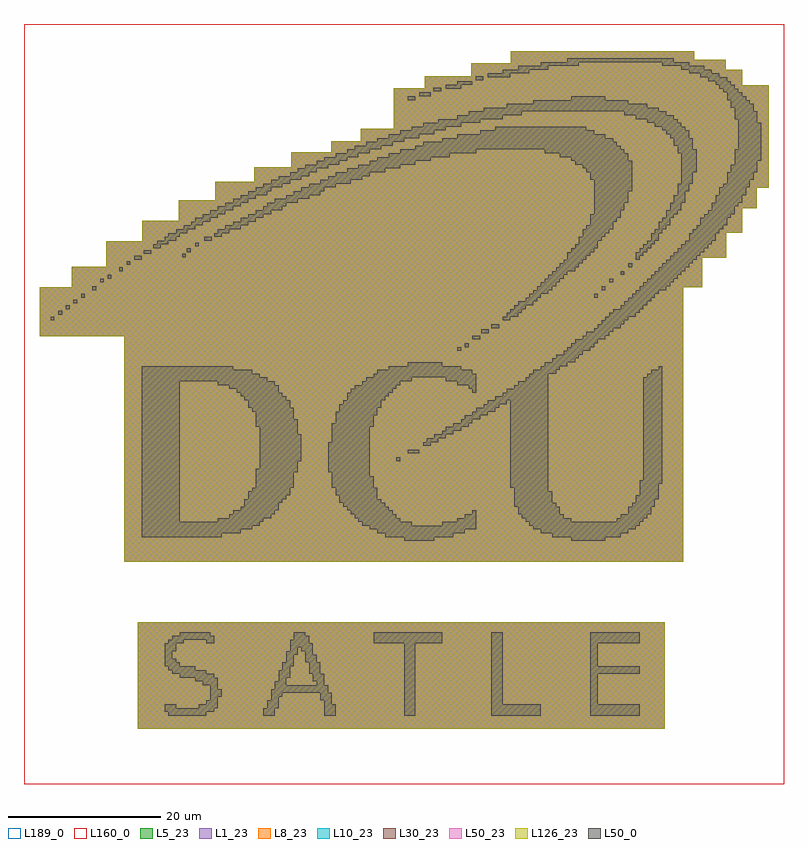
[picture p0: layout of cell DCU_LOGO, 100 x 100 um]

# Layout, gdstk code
import gdstk
lib = gdstk.Library(unit=1e-6, precision=1e-09)
def R(c, l, rs):  # rectangles x0, y0, x1, y1
    for r in rs: c.add(gdstk.rectangle(r[:2], r[2:], *l))
def P(c, l, *ps):  # polygons
    for p in ps: c.add(gdstk.Polygon(p, *l))
L1_23 = (1, 23)
L5_23 = (5, 23)
L8_23 = (8, 23)
L10_23 = (10, 23)
L30_23 = (30, 23)
L50_0 = (50, 0)
L50_23 = (50, 23)
L126_23 = (126, 23)
L160_0 = (160, 0)
L189_0 = (189, 0)

dcu_logo = lib.new_cell('DCU_LOGO')
R(dcu_logo, L1_23, [(14.985,7.26,84.295,21.31)])
P(dcu_logo, L1_23, [(13.185,29.27),(13.185,58.945),(2.1,58.945),(2.1,65.34),(6.295,65.34),(6.295,68.035),(10.79,68.035),(10.79,71.43),(15.585,71.43),(15.585,74.13),(20.38,74.13),(20.38,76.825),(25.175,76.825),(25.175,79.225),(30.27,79.225),(30.27,81.14),(35.165,81.14),(35.165,83.12),(40.41,83.12),(40.41,84.59),(44.31,84.59),(44.31,86.22),(48.655,86.22),(48.655,91.515),(52.75,91.515),(52.75,93.11),(58.845,93.11),(58.845,94.81),(64.04,94.81),(64.04,96.41),(88.215,96.41),(88.215,95.31),(92.31,95.31),(92.31,94.01),(94.51,94.01),(94.51,91.91),(98.005,91.91),(98.005,78.425),(96.41,78.425),(96.41,75.73),(94.51,75.73),(94.51,72.53),(92.41,72.53),(92.41,69.235),(89.215,69.235),(89.215,65.34),(86.715,65.34),(86.715,29.27)])
R(dcu_logo, L5_23, [(14.985,7.26,84.295,21.31)])
P(dcu_logo, L5_23, [(13.185,29.27),(13.185,58.945),(2.1,58.945),(2.1,65.34),(6.295,65.34),(6.295,68.035),(10.79,68.035),(10.79,71.43),(15.585,71.43),(15.585,74.13),(20.38,74.13),(20.38,76.825),(25.175,76.825),(25.175,79.225),(30.27,79.225),(30.27,81.14),(35.165,81.14),(35.165,83.12),(40.41,83.12),(40.41,84.59),(44.31,84.59),(44.31,86.22),(48.655,86.22),(48.655,91.515),(52.75,91.515),(52.75,93.11),(58.845,93.11),(58.845,94.81),(64.04,94.81),(64.04,96.41),(88.215,96.41),(88.215,95.31),(92.31,95.31),(92.31,94.01),(94.51,94.01),(94.51,91.91),(98.005,91.91),(98.005,78.425),(96.41,78.425),(96.41,75.73),(94.51,75.73),(94.51,72.53),(92.41,72.53),(92.41,69.235),(89.215,69.235),(89.215,65.34),(86.715,65.34),(86.715,29.27)])
R(dcu_logo, L8_23, [(14.985,7.26,84.295,21.31)])
P(dcu_logo, L8_23, [(13.185,29.27),(13.185,58.945),(2.1,58.945),(2.1,65.34),(6.295,65.34),(6.295,68.035),(10.79,68.035),(10.79,71.43),(15.585,71.43),(15.585,74.13),(20.38,74.13),(20.38,76.825),(25.175,76.825),(25.175,79.225),(30.27,79.225),(30.27,81.14),(35.165,81.14),(35.165,83.12),(40.41,83.12),(40.41,84.59),(44.31,84.59),(44.31,86.22),(48.655,86.22),(48.655,91.515),(52.75,91.515),(52.75,93.11),(58.845,93.11),(58.845,94.81),(64.04,94.81),(64.04,96.41),(88.215,96.41),(88.215,95.31),(92.31,95.31),(92.31,94.01),(94.51,94.01),(94.51,91.91),(98.005,91.91),(98.005,78.425),(96.41,78.425),(96.41,75.73),(94.51,75.73),(94.51,72.53),(92.41,72.53),(92.41,69.235),(89.215,69.235),(89.215,65.34),(86.715,65.34),(86.715,29.27)])
R(dcu_logo, L10_23, [(14.985,7.26,84.295,21.31)])
P(dcu_logo, L10_23, [(13.185,29.27),(13.185,58.945),(2.1,58.945),(2.1,65.34),(6.295,65.34),(6.295,68.035),(10.79,68.035),(10.79,71.43),(15.585,71.43),(15.585,74.13),(20.38,74.13),(20.38,76.825),(25.175,76.825),(25.175,79.225),(30.27,79.225),(30.27,81.14),(35.165,81.14),(35.165,83.12),(40.41,83.12),(40.41,84.59),(44.31,84.59),(44.31,86.22),(48.655,86.22),(48.655,91.515),(52.75,91.515),(52.75,93.11),(58.845,93.11),(58.845,94.81),(64.04,94.81),(64.04,96.41),(88.215,96.41),(88.215,95.31),(92.31,95.31),(92.31,94.01),(94.51,94.01),(94.51,91.91),(98.005,91.91),(98.005,78.425),(96.41,78.425),(96.41,75.73),(94.51,75.73),(94.51,72.53),(92.41,72.53),(92.41,69.235),(89.215,69.235),(89.215,65.34),(86.715,65.34),(86.715,29.27)])
R(dcu_logo, L30_23, [(14.985,7.26,84.295,21.31)])
P(dcu_logo, L30_23, [(13.185,29.27),(13.185,58.945),(2.1,58.945),(2.1,65.34),(6.295,65.34),(6.295,68.035),(10.79,68.035),(10.79,71.43),(15.585,71.43),(15.585,74.13),(20.38,74.13),(20.38,76.825),(25.175,76.825),(25.175,79.225),(30.27,79.225),(30.27,81.14),(35.165,81.14),(35.165,83.12),(40.41,83.12),(40.41,84.59),(44.31,84.59),(44.31,86.22),(48.655,86.22),(48.655,91.515),(52.75,91.515),(52.75,93.11),(58.845,93.11),(58.845,94.81),(64.04,94.81),(64.04,96.41),(88.215,96.41),(88.215,95.31),(92.31,95.31),(92.31,94.01),(94.51,94.01),(94.51,91.91),(98.005,91.91),(98.005,78.425),(96.41,78.425),(96.41,75.73),(94.51,75.73),(94.51,72.53),(92.41,72.53),(92.41,69.235),(89.215,69.235),(89.215,65.34),(86.715,65.34),(86.715,29.27)])
R(dcu_logo, L50_0, [(49,42.5,49.5,43), (50.5,43.5,52,44), (57,57,57.5,57.5), (58,57.5,58.5,58), (59,58.5,60,59), (60.135,59.335,61.135,59.835), (61.5,60,62.5,60.5), (3.5,61,4,61.5), (4.5,61.75,5,62.25), (5.5,62.5,6,63), (6.5,63.25,7,63.75), (7.5,64,8,64.5), (75,64,75.5,64.5), (9,65,9.5,65.5), (76,65,76.5,65.5), (10,66,10.5,66.5), (77,66,77.5,66.5), (11,66.5,11.5,67), (78.5,67,79,67.5), (12.5,67.5,13,68), (79.5,68,80,68.5), (13.5,68.295,14,68.795), (14.5,69,15.5,69.5), (20.8,69.3,21.3,69.8), (15.75,69.75,16.75,70.25), (21.435,70,21.935,70.5), (22.5,70.75,23,71.25), (23.7,71.5,24.7,72), (50.5,90,51.5,90.5), (52,90.5,53.5,91), (53.875,91.14,54.875,91.64), (59.435,92.6,60.435,93.1)])
P(dcu_logo, L50_0, [(63,61),(63,61.5),(63.5,61.5),(63.5,62),(64,62),(64,62.5),(64.5,62.5),(64.5,63),(65,63),(65,63.5),(66,63.5),(66,64),(66.5,64),(66.5,64.5),(67,64.5),(67,65),(67.5,65),(67.5,65.5),(68,65.5),(68,66),(68.5,66),(68.5,66.5),(69,66.5),(69,67),(69.5,67),(69.5,67.5),(70,67.5),(70,68),(70.5,68),(70.5,68.5),(71,68.5),(71,69),(71.5,69),(71.5,70),(72,70),(72,70.5),(72.5,70.5),(72.5,71),(73,71),(73,72),(73.5,72),(73.5,73),(74,73),(74,73.5),(74.5,73.5),(74.5,75),(75,75),(75,79.5),(74.5,79.5),(74.5,80.5),(74,80.5),(74,81),(73.5,81),(73.5,81.5),(72.5,81.5),(72.5,82),(72,82),(72,82.5),(70.5,82.5),(70.5,83),(68.5,83),(68.5,83.5),(59.5,83.5),(59.5,83),(56,83),(56,82.5),(53.5,82.5),(53.5,82),(51.5,82),(51.5,81.5),(49.5,81.5),(49.5,81),(47.5,81),(47.5,80.5),(45.5,80.5),(45.5,80),(44.5,80),(44.5,79.5),(43,79.5),(43,79),(41,79),(41,78.5),(39.5,78.5),(39.5,78),(39,78),(39,77.5),(37.5,77.5),(37.5,77),(36,77),(36,76.5),(34.5,76.5),(34.5,76),(34,76),(34,75.5),(32.5,75.5),(32.5,75),(31.5,75),(31.5,74.5),(30.5,74.5),(30.5,74),(29.5,74),(29.5,73.5),(28.5,73.5),(28.5,73),(27,73),(27,72.5),(26,72.5),(26,72),(25,72),(25,72.5),(25.5,72.5),(25.5,73),(26.5,73),(26.5,73.5),(27.5,73.5),(27.5,74),(28.5,74),(28.5,74.5),(29.5,74.5),(29.5,75),(30.5,75),(30.5,75.5),(31.5,75.5),(31.5,76),(32,76),(32,76.5),(33,76.5),(33,77),(34.5,77),(34.5,77.5),(35.5,77.5),(35.5,78),(36.5,78),(36.5,78.5),(37.5,78.5),(37.5,79),(39,79),(39,79.5),(40,79.5),(40,80),(41,80),(41,80.5),(42.5,80.5),(42.5,81),(44,81),(44,81.5),(45.5,81.5),(45.5,82),(46.5,82),(46.5,82.5),(48,82.5),(48,83),(49.5,83),(49.5,83.5),(51.5,83.5),(51.5,84),(52.5,84),(52.5,84.5),(55,84.5),(55,85),(57,85),(57,85.5),(60,85.5),(60,86),(62,86),(62,86.5),(74,86.5),(74,86),(75,86),(75,85.5),(76.5,85.5),(76.5,85),(77.5,85),(77.5,84.5),(78,84.5),(78,84),(78.5,84),(78.5,83.5),(79,83.5),(79,83),(79.5,83),(79.5,82),(80,82),(80,78),(79.5,78),(79.5,76.5),(79,76.5),(79,75.5),(78.5,75.5),(78.5,74.5),(78,74.5),(78,74),(77.5,74),(77.5,73),(77,73),(77,72.5),(76.5,72.5),(76.5,72),(76,72),(76,71.5),(75.5,71.5),(75.5,70.5),(75,70.5),(75,70),(74.5,70),(74.5,69.5),(74,69.5),(74,69),(73.5,69),(73.5,68.5),(73,68.5),(73,68),(72.5,68),(72.5,67.5),(71.5,67.5),(71.5,67),(71,67),(71,66.5),(70.5,66.5),(70.5,66),(70,66),(70,65.5),(69.5,65.5),(69.5,65),(69,65),(69,64.5),(68,64.5),(68,64),(67.5,64),(67.5,63.5),(67,63.5),(67,63),(66,63),(66,62.5),(65.5,62.5),(65.5,62),(65,62),(65,61.5),(64,61.5),(64,61)],
  [(80.5,69),(80.5,70),(81,70),(81,70.5),(81.5,70.5),(81.5,71),(82,71),(82,71.5),(82.5,71.5),(82.5,72.5),(83,72.5),(83,73),(83.5,73),(83.5,74),(84,74),(84,74.5),(84.5,74.5),(84.5,75.5),(85,75.5),(85,76.5),(85.5,76.5),(85.5,77.5),(86,77.5),(86,79),(86.5,79),(86.5,83),(86,83),(86,84),(85.5,84),(85.5,85),(85,85),(85,85.5),(84.5,85.5),(84.5,86),(84,86),(84,86.5),(83,86.5),(83,87),(82,87),(82,87.5),(80.5,87.5),(80.5,88),(79,88),(79,88.5),(65.5,88.5),(65.5,88),(63,88),(63,87.5),(60,87.5),(60,87),(57.5,87),(57.5,86.5),(55.5,86.5),(55.5,86),(54,86),(54,85.5),(52,85.5),(52,85),(50,85),(50,84.5),(48.5,84.5),(48.5,84),(47,84),(47,83.5),(45.5,83.5),(45.5,83),(44,83),(44,82.5),(42.5,82.5),(42.5,82),(41.5,82),(41.5,81.5),(40,81.5),(40,81),(38.5,81),(38.5,80.5),(37.5,80.5),(37.5,80),(36.5,80),(36.5,79.5),(35,79.5),(35,79),(34,79),(34,78.5),(32.5,78.5),(32.5,78),(32,78),(32,77.5),(30.5,77.5),(30.5,77),(29.5,77),(29.5,76.5),(28.5,76.5),(28.5,76),(27.5,76),(27.5,75.5),(26.5,75.5),(26.5,75),(25.5,75),(25.5,74.5),(24.5,74.5),(24.5,74),(23.5,74),(23.5,73.5),(22.5,73.5),(22.5,73),(21.5,73),(21.5,72.5),(20.5,72.5),(20.5,72),(20,72),(20,71.5),(19,71.5),(19,71),(18,71),(18,70.5),(17,70.5),(17,71),(17.5,71),(17.5,71.5),(18.5,71.5),(18.5,72),(19,72),(19,72.5),(20,72.5),(20,73),(21,73),(21,73.5),(22,73.5),(22,74),(22.5,74),(22.5,74.5),(23.5,74.5),(23.5,75),(24.5,75),(24.5,75.5),(25.5,75.5),(25.5,76),(26.5,76),(26.5,76.5),(27.5,76.5),(27.5,77),(28.5,77),(28.5,77.5),(29.5,77.5),(29.5,78),(30.5,78),(30.5,78.5),(31.5,78.5),(31.5,79),(32.5,79),(32.5,79.5),(33.5,79.5),(33.5,80),(35,80),(35,80.5),(36,80.5),(36,81),(37,81),(37,81.5),(38.5,81.5),(38.5,82),(39.5,82),(39.5,82.5),(41,82.5),(41,83),(42.5,83),(42.5,83.5),(43.5,83.5),(43.5,84),(45,84),(45,84.5),(46.5,84.5),(46.5,85),(48,85),(48,85.5),(49.5,85.5),(49.5,86),(51,86),(51,86.5),(52.5,86.5),(52.5,87),(54.5,87),(54.5,87.5),(57,87.5),(57,88),(58.5,88),(58.5,88.5),(60.5,88.5),(60.5,89),(63.5,89),(63.5,89.5),(67,89.5),(67,90),(72,90),(72,90.5),(76.5,90.5),(76.5,90),(79.5,90),(79.5,89.5),(82,89.5),(82,89),(83.5,89),(83.5,88.5),(84.5,88.5),(84.5,88),(85.5,88),(85.5,87.5),(86,87.5),(86,87),(86.5,87),(86.5,86.5),(87,86.5),(87,86),(87.5,86),(87.5,85),(88,85),(88,83.5),(88.5,83.5),(88.5,80.5),(88,80.5),(88,79),(87.5,79),(87.5,78),(87,78),(87,76.5),(86.5,76.5),(86.5,75.5),(86,75.5),(86,75),(85.5,75),(85.5,74.5),(85,74.5),(85,73.5),(84.5,73.5),(84.5,73),(84,73),(84,72.5),(83.5,72.5),(83.5,71.5),(83,71.5),(83,71),(82.5,71),(82.5,70.5),(82,70.5),(82,70),(81.5,70),(81.5,69.5),(81,69.5),(81,69)],
  [(55.5,91.5),(55.5,92),(57,92),(57,92.5),(59,92.5),(59,92),(57.5,92),(57.5,91.5)],
  [(72,32),(72,32.5),(69.5,32.5),(69.5,33),(68,33),(68,33.5),(67,33.5),(67,34),(66.5,34),(66.5,34.5),(66,34.5),(66,35),(65.5,35),(65.5,35.5),(65,35.5),(65,36.5),(64.5,36.5),(64.5,39),(64,39),(64,50.5),(63.5,50.5),(63.5,50),(62.5,50),(62.5,49.5),(62,49.5),(62,49),(61,49),(61,48.5),(60,48.5),(60,48),(59,48),(59,47.5),(58.5,47.5),(58.5,47),(57.5,47),(57.5,46.5),(56.5,46.5),(56.5,46),(55.5,46),(55.5,45.5),(54.5,45.5),(54.5,45),(53.5,45),(53.5,44.5),(52.5,44.5),(52.5,45),(53,45),(53,45.5),(54,45.5),(54,46),(55,46),(55,46.5),(55.5,46.5),(55.5,47),(56.5,47),(56.5,47.5),(57.5,47.5),(57.5,48),(58,48),(58,48.5),(59,48.5),(59,49),(59.5,49),(59.5,49.5),(60.5,49.5),(60.5,50),(61,50),(61,50.5),(62,50.5),(62,51),(63,51),(63,51.5),(63.5,51.5),(63.5,52),(64.5,52),(64.5,52.5),(65,52.5),(65,53),(66,53),(66,53.5),(66.5,53.5),(66.5,54),(67,54),(67,54.5),(68,54.5),(68,55),(68.5,55),(68.5,55.5),(69.5,55.5),(69.5,56),(70,56),(70,56.5),(71,56.5),(71,57),(71.5,57),(71.5,57.5),(72,57.5),(72,58),(72.5,58),(72.5,58.5),(73.5,58.5),(73.5,59),(74,59),(74,59.5),(75,59.5),(75,60),(75.5,60),(75.5,60.5),(76,60.5),(76,61),(76.5,61),(76.5,61.5),(77,61.5),(77,62),(77.5,62),(77.5,62.5),(78.5,62.5),(78.5,63),(79,63),(79,63.5),(79.5,63.5),(79.5,64),(80,64),(80,64.5),(80.5,64.5),(80.5,65),(81,65),(81,65.5),(81.5,65.5),(81.5,66),(82,66),(82,66.5),(82.5,66.5),(82.5,67),(83,67),(83,67.5),(83.5,67.5),(83.5,68),(84,68),(84,68.5),(84.5,68.5),(84.5,69),(85,69),(85,69.5),(85.5,69.5),(85.5,70),(86,70),(86,70.5),(86.5,70.5),(86.5,71),(87,71),(87,71.5),(87.5,71.5),(87.5,72.5),(88,72.5),(88,73),(88.5,73),(88.5,73.5),(89,73.5),(89,74.5),(89.5,74.5),(89.5,75),(90,75),(90,75.5),(90.5,75.5),(90.5,76.5),(91,76.5),(91,77.5),(91.5,77.5),(91.5,78.5),(92,78.5),(92,79),(92.5,79),(92.5,80.5),(93,80.5),(93,81.5),(93.5,81.5),(93.5,83.5),(94,83.5),(94,87.5),(93.5,87.5),(93.5,89),(93,89),(93,90),(92.5,90),(92.5,91),(92,91),(92,91.5),(91.5,91.5),(91.5,92),(91,92),(91,92.5),(90,92.5),(90,93),(89,93),(89,93.5),(87.5,93.5),(87.5,94),(86.5,94),(86.5,94.5),(84,94.5),(84,95),(73,95),(73,94.5),(69,94.5),(69,94),(66.5,94),(66.5,93.5),(64,93.5),(64,93),(61,93),(61,93.5),(63,93.5),(63,94),(65,94),(65,94.5),(68,94.5),(68,95),(71.5,95),(71.5,95.5),(85.5,95.5),(85.5,95),(87.5,95),(87.5,94.5),(89.5,94.5),(89.5,94),(90.5,94),(90.5,93.5),(91.5,93.5),(91.5,93),(92.5,93),(92.5,92.5),(93,92.5),(93,92),(93.5,92),(93.5,91.5),(94,91.5),(94,91),(94.5,91),(94.5,90.5),(95,90.5),(95,90),(95.5,90),(95.5,89.5),(96,89.5),(96,88.5),(96.5,88.5),(96.5,87),(97,87),(97,82),(96.5,82),(96.5,80.5),(96,80.5),(96,79.5),(95.5,79.5),(95.5,78.5),(95,78.5),(95,77.5),(94.5,77.5),(94.5,76.5),(94,76.5),(94,76),(93.5,76),(93.5,75),(93,75),(93,74.5),(92.5,74.5),(92.5,73.5),(92,73.5),(92,73),(91.5,73),(91.5,72.5),(91,72.5),(91,71.5),(90.5,71.5),(90.5,71),(90,71),(90,70.5),(89.5,70.5),(89.5,70),(89,70),(89,69.5),(88.5,69.5),(88.5,69),(88,69),(88,68.5),(87.5,68.5),(87.5,68),(87,68),(87,67.5),(86.5,67.5),(86.5,67),(86,67),(86,66.5),(85.5,66.5),(85.5,66),(85,66),(85,65.5),(84.5,65.5),(84.5,65),(83.5,65),(83.5,64.5),(83,64.5),(83,64),(82.5,64),(82.5,63.5),(82,63.5),(82,63),(81.5,63),(81.5,62.5),(81,62.5),(81,62),(80.5,62),(80.5,61.5),(79.5,61.5),(79.5,61),(79,61),(79,60.5),(78.5,60.5),(78.5,60),(77.5,60),(77.5,59.5),(77,59.5),(77,59),(76.5,59),(76.5,58.5),(75.5,58.5),(75.5,58),(75,58),(75,57.5),(74.5,57.5),(74.5,57),(73.5,57),(73.5,56.5),(73,56.5),(73,56),(72.5,56),(72.5,55.5),(71.5,55.5),(71.5,55),(70.5,55),(70.5,54.5),(70,54.5),(70,54),(69,54),(69,38.5),(69.5,38.5),(69.5,37),(70,37),(70,36.5),(70.5,36.5),(70.5,35.5),(71,35.5),(71,35),(72,35),(72,34.5),(78,34.5),(78,35),(78.5,35),(78.5,35.5),(79.5,35.5),(79.5,36.5),(80,36.5),(80,37),(80.5,37),(80.5,38),(81,38),(81,40),(81.5,40),(81.5,53.5),(82,53.5),(82,54),(82.5,54),(82.5,54.5),(83.5,54.5),(83.5,55),(84,55),(84,39.5),(83.5,39.5),(83.5,37.5),(83,37.5),(83,36.5),(82.5,36.5),(82.5,35.5),(82,35.5),(82,35),(81.5,35),(81.5,34.5),(81,34.5),(81,34),(80.5,34),(80.5,33.5),(79.5,33.5),(79.5,33),(78.5,33),(78.5,32.5),(76.5,32.5),(76.5,32)],
  [(19,9),(19,9.5),(18.5,9.5),(18.5,10.5),(20,10.5),(20,10),(23,10),(23,10.5),(24,10.5),(24,11),(24.5,11),(24.5,13),(23.5,13),(23.5,13.5),(22.5,13.5),(22.5,14),(20.5,14),(20.5,14.5),(19.5,14.5),(19.5,15),(19,15),(19,15.5),(18.5,15.5),(18.5,18.5),(19,18.5),(19,19),(19.5,19),(19.5,19.5),(20.5,19.5),(20.5,20),(24.5,20),(24.5,19.5),(25,19.5),(25,18.5),(24,18.5),(24,19),(21,19),(21,18.5),(20,18.5),(20,17.5),(19.5,17.5),(19.5,16.5),(20,16.5),(20,16),(20.5,16),(20.5,15.5),(22.5,15.5),(22.5,15),(24,15),(24,14.5),(25,14.5),(25,14),(25.5,14),(25.5,12.5),(26,12.5),(26,11.5),(25.5,11.5),(25.5,10),(25,10),(25,9.5),(24,9.5),(24,9)],
  [(31.5,9),(31.5,10),(32,10),(32,11),(32.5,11),(32.5,12.5),(33,12.5),(33,13.5),(33.5,13.5),(33.5,15),(34,15),(34,16),(34.5,16),(34.5,17.5),(35,17.5),(35,18),(36,18),(36,17),(35.5,17),(35.5,15.5),(35,15.5),(35,14),(34.5,14),(34.5,13),(38.5,13),(38.5,13.5),(38,13.5),(38,14.5),(37.5,14.5),(37.5,16),(37,16),(37,17.5),(36.5,17.5),(36.5,18),(35,18),(35,19),(35.5,19),(35.5,20),(37,20),(37,19.5),(37.5,19.5),(37.5,18.5),(38,18.5),(38,17),(38.5,17),(38.5,16),(39,16),(39,14.5),(39.5,14.5),(39.5,13),(40,13),(40,12),(40.5,12),(40.5,10.5),(41,10.5),(41,9),(39.5,9),(39.5,11),(39,11),(39,12),(34,12),(34,11.5),(33.5,11.5),(33.5,10),(33,10),(33,9)],
  [(50,9),(50,18.5),(46,18.5),(46,20),(55,20),(55,18.5),(51.5,18.5),(51.5,9)],
  [(61.5,9),(61.5,20),(63,20),(63,10.5),(68,10.5),(68,9)],
  [(74.5,9),(74.5,20),(81,20),(81,18.5),(75.5,18.5),(75.5,15.5),(81,15.5),(81,14.5),(75.5,14.5),(75.5,10.5),(81,10.5),(81,9)],
  [(15.5,32.5),(15.5,53),(20.5,53),(20.5,34.5),(25.5,34.5),(25.5,35),(27,35),(27,35.5),(27.5,35.5),(27.5,36),(28.5,36),(28.5,36.5),(29,36.5),(29,37.5),(29.5,37.5),(29.5,38.5),(30,38.5),(30,39),(30.5,39),(30.5,41.5),(31,41.5),(31,47),(30.5,47),(30.5,49),(30,49),(30,49.5),(29.5,49.5),(29.5,50.5),(29,50.5),(29,51),(28.5,51),(28.5,51.5),(28,51.5),(28,52),(27,52),(27,52.5),(25.5,52.5),(25.5,53),(15.5,53),(15.5,55),(27.5,55),(27.5,54.5),(30,54.5),(30,54),(31,54),(31,53.5),(32,53.5),(32,53),(33,53),(33,52.5),(33.5,52.5),(33.5,51.5),(34,51.5),(34,51),(34.5,51),(34.5,50.5),(35,50.5),(35,49.5),(35.5,49.5),(35.5,48),(36,48),(36,46),(36.5,46),(36.5,42.5),(36,42.5),(36,41),(35.5,41),(35.5,39),(35,39),(35,38),(34.5,38),(34.5,37.5),(34,37.5),(34,37),(33.5,37),(33.5,36),(33,36),(33,35.5),(32.5,35.5),(32.5,35),(31.5,35),(31.5,34.5),(31,34.5),(31,34),(30,34),(30,33.5),(28.5,33.5),(28.5,33),(26,33),(26,32.5)],
  [(50,32),(50,32.5),(47.5,32.5),(47.5,33),(46.5,33),(46.5,33.5),(45.5,33.5),(45.5,34),(44.5,34),(44.5,34.5),(44,34.5),(44,35),(43.5,35),(43.5,35.5),(43,35.5),(43,36),(42.5,36),(42.5,36.5),(42,36.5),(42,37),(41.5,37),(41.5,38),(41,38),(41,39),(40.5,39),(40.5,41),(40,41),(40,45),(40.5,45),(40.5,47.5),(41,47.5),(41,49),(41.5,49),(41.5,50),(42,50),(42,50.5),(42.5,50.5),(42.5,51.5),(43,51.5),(43,52),(43.5,52),(43.5,52.5),(44.5,52.5),(44.5,53),(45,53),(45,53.5),(46,53.5),(46,54),(46.5,54),(46.5,54.5),(48,54.5),(48,55),(50.5,55),(50.5,55.5),(55,55.5),(55,55),(57.5,55),(57.5,54.5),(59,54.5),(59,54),(59.5,54),(59.5,51.5),(59,51.5),(59,52),(58.5,52),(58.5,52.5),(57,52.5),(57,53),(55.5,53),(55.5,53.5),(51,53.5),(51,53),(49.5,53),(49.5,52.5),(49,52.5),(49,52),(48.5,52),(48.5,51.5),(48,51.5),(48,51),(47.5,51),(47.5,50.5),(47,50.5),(47,49.5),(46.5,49.5),(46.5,48.5),(46,48.5),(46,47),(45.5,47),(45.5,40.5),(46,40.5),(46,39),(46.5,39),(46.5,37.5),(47,37.5),(47,37),(47.5,37),(47.5,36.5),(48,36.5),(48,36),(48.5,36),(48.5,35.5),(49,35.5),(49,35),(49.5,35),(49.5,34.5),(51,34.5),(51,34),(55,34),(55,34.5),(57,34.5),(57,35),(58,35),(58,35.5),(59,35.5),(59,36),(59.5,36),(59.5,33.5),(58,33.5),(58,33),(56.5,33),(56.5,32.5),(54,32.5),(54,32)])
R(dcu_logo, L50_23, [(14.985,7.26,84.295,21.31)])
P(dcu_logo, L50_23, [(13.185,29.27),(13.185,58.945),(2.1,58.945),(2.1,65.34),(6.295,65.34),(6.295,68.035),(10.79,68.035),(10.79,71.43),(15.585,71.43),(15.585,74.13),(20.38,74.13),(20.38,76.825),(25.175,76.825),(25.175,79.225),(30.27,79.225),(30.27,81.14),(35.165,81.14),(35.165,83.12),(40.41,83.12),(40.41,84.59),(44.31,84.59),(44.31,86.22),(48.655,86.22),(48.655,91.515),(52.75,91.515),(52.75,93.11),(58.845,93.11),(58.845,94.81),(64.04,94.81),(64.04,96.41),(88.215,96.41),(88.215,95.31),(92.31,95.31),(92.31,94.01),(94.51,94.01),(94.51,91.91),(98.005,91.91),(98.005,78.425),(96.41,78.425),(96.41,75.73),(94.51,75.73),(94.51,72.53),(92.41,72.53),(92.41,69.235),(89.215,69.235),(89.215,65.34),(86.715,65.34),(86.715,29.27)])
R(dcu_logo, L126_23, [(14.985,7.26,84.295,21.31)])
P(dcu_logo, L126_23, [(13.185,29.27),(13.185,58.945),(2.1,58.945),(2.1,65.34),(6.295,65.34),(6.295,68.035),(10.79,68.035),(10.79,71.43),(15.585,71.43),(15.585,74.13),(20.38,74.13),(20.38,76.825),(25.175,76.825),(25.175,79.225),(30.27,79.225),(30.27,81.14),(35.165,81.14),(35.165,83.12),(40.41,83.12),(40.41,84.59),(44.31,84.59),(44.31,86.22),(48.655,86.22),(48.655,91.515),(52.75,91.515),(52.75,93.11),(58.845,93.11),(58.845,94.81),(64.04,94.81),(64.04,96.41),(88.215,96.41),(88.215,95.31),(92.31,95.31),(92.31,94.01),(94.51,94.01),(94.51,91.91),(98.005,91.91),(98.005,78.425),(96.41,78.425),(96.41,75.73),(94.51,75.73),(94.51,72.53),(92.41,72.53),(92.41,69.235),(89.215,69.235),(89.215,65.34),(86.715,65.34),(86.715,29.27)])
R(dcu_logo, L160_0, [(0,0,100,100)])
R(dcu_logo, L189_0, [(0,0,100,100)])

lib.write_gds('DCU_LOGO.gds')
